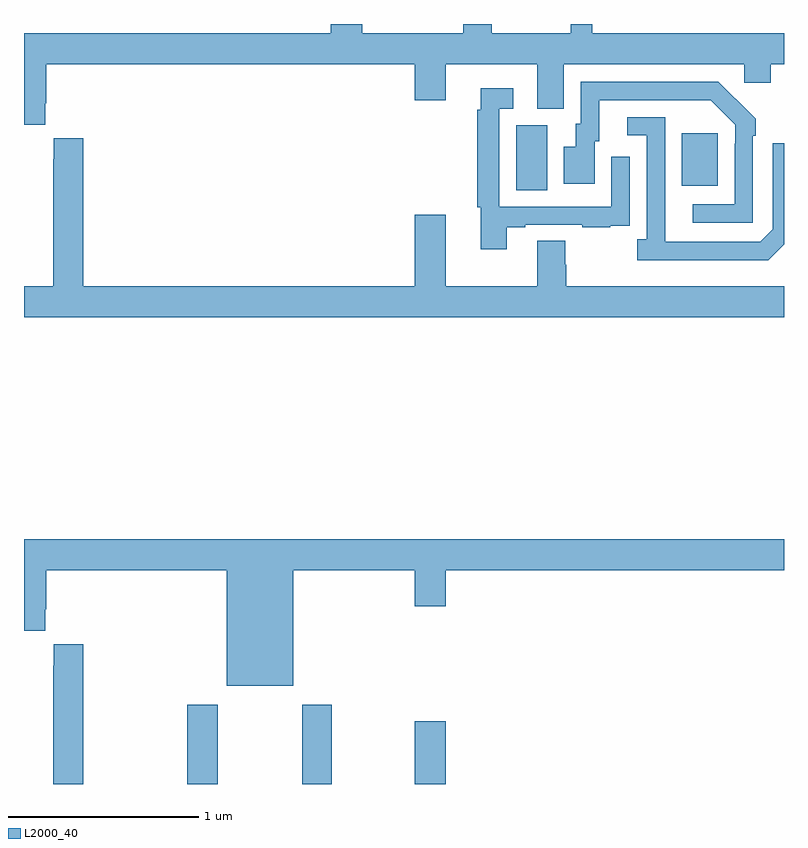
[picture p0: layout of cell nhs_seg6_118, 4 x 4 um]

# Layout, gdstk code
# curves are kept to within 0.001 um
import gdstk
lib = gdstk.Library(unit=1e-6, precision=1e-09)
def R(c, l, rs):  # rectangles x0, y0, x1, y1
    for r in rs: c.add(gdstk.rectangle(r[:2], r[2:], *l))
def P(c, l, *ps):  # polygons
    for p in ps: c.add(gdstk.Polygon(p, *l))
L2000_40 = (2000, 40)

nhs_seg6_118 = lib.new_cell('nhs_seg6_118')
R(nhs_seg6_118, L2000_40, [(115.859,991.5,116.019,991.918), (116.464,991.5,116.619,991.918), (117.056,991.5,117.22,991.831), (117.59,994.624,117.754,994.968), (118.463,994.649,118.651,994.924)])
P(nhs_seg6_118, L2000_40, [(115.111,995.083),(115.118,995.083),(115.118,995.288),(117.056,995.288),(117.056,995.1),(117.22,995.1),(117.22,995.288),(117.701,995.288),(117.701,995.053),(117.841,995.053),(117.841,995.288),(118.791,995.288),(118.791,995.19),(118.93,995.19),(118.93,995.288),(119,995.288),(119,995.452),(117.991,995.452),(117.991,995.5),(117.877,995.5),(117.877,995.452),(117.463,995.452),(117.463,995.5),(117.311,995.5),(117.311,995.452),(116.78,995.452),(116.78,995.5),(116.615,995.5),(116.615,995.452),(115,995.452),(115,994.971),(115.111,994.971)],
  [(118.836,994.913),(118.851,994.913),(118.851,995.001),(118.654,995.196),(117.93,995.196),(117.93,994.974),(117.905,994.974),(117.905,994.855),(117.842,994.855),(117.842,994.659),(118.003,994.659),(118.003,994.884),(118.027,994.884),(118.027,995.1),(118.615,995.1),(118.743,994.971),(118.743,994.871),(118.74,994.871),(118.74,994.551),(118.521,994.551),(118.521,994.455),(118.836,994.455)],
  [(117.541,994.431),(117.637,994.431),(117.637,994.443),(117.937,994.443),(117.937,994.431),(118.085,994.431),(118.085,994.437),(118.187,994.437),(118.187,994.546),(118.188,994.546),(118.188,994.801),(118.092,994.801),(118.092,994.539),(117.501,994.539),(117.501,995.055),(117.574,995.055),(117.574,995.161),(117.404,995.161),(117.404,995.048),(117.385,995.048),(117.385,994.536),(117.404,994.536),(117.404,994.314),(117.541,994.314)],
  [(119,994.34),(119,994.873),(118.941,994.873),(118.941,994.419),(118.875,994.353),(118.375,994.353),(118.374,995.01),(118.176,995.01),(118.176,994.914),(118.278,994.914),(118.278,994.366),(118.227,994.366),(118.227,994.256),(118.916,994.256)],
  [(119,994.12),(117.854,994.12),(117.854,994.233),(117.849,994.233),(117.849,994.358),(117.701,994.358),(117.701,994.12),(117.22,994.12),(117.22,994.495),(117.056,994.495),(117.056,994.12),(115.313,994.12),(115.313,994.9),(115.157,994.9),(115.157,994.787),(115.153,994.787),(115.153,994.12),(115,994.12),(115,993.956),(119,993.956)],
  [(116.416,992.624),(117.056,992.624),(117.056,992.436),(117.22,992.436),(117.22,992.624),(119,992.624),(119,992.788),(115,992.788),(115,992.307),(115.111,992.307),(115.111,992.419),(115.118,992.419),(115.118,992.624),(116.066,992.624),(116.066,992.018),(116.416,992.018)],
  [(115.313,992.236),(115.157,992.236),(115.157,992.123),(115.153,992.123),(115.153,991.5),(115.313,991.5)])

lib.write_gds('nhs_seg6_118.gds')
